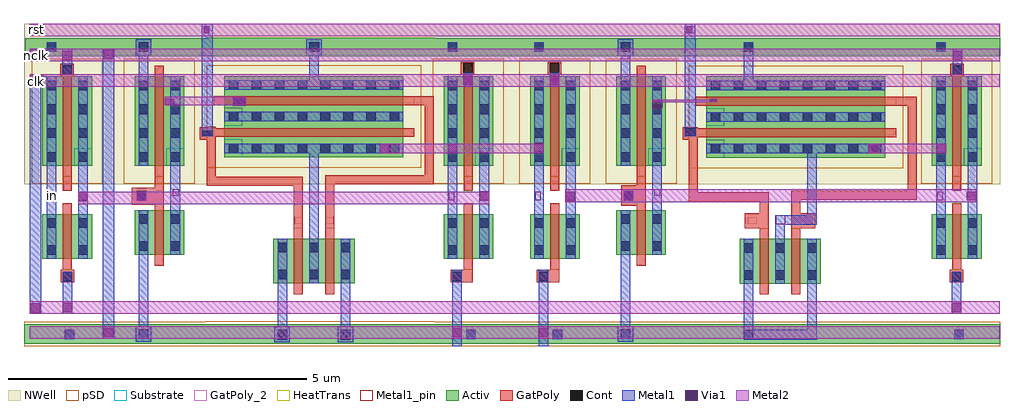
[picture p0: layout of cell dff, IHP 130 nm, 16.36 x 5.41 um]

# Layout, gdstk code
from math import pi, radians
import gdstk
lib = gdstk.Library(unit=1e-6, precision=5e-09)
def R(c, l, rs):  # rectangles x0, y0, x1, y1
    for r in rs: c.add(gdstk.rectangle(r[:2], r[2:], *l))
def A(c, l, x, y, w, h, nx, ny, dx, dy):  # array of equal rectangles
    R(c, l, [(x+i*dx, y+j*dy, x+i*dx+w, y+j*dy+h) for i in range(nx) for j in range(ny)])
Activ = (1, 0)
GatPoly = (5, 0)
GatPoly_2 = (5, 2)
Cont = (6, 0)
Metal1 = (8, 0)
Metal1_pin = (8, 2)
Metal2 = (10, 0)
pSD = (14, 0)
Via1 = (19, 0)
NWell = (31, 0)
Substrate = (40, 0)
HeatTrans = (51, 0)

nmos_5_1 = lib.new_cell('nmos$5$1')
R(nmos_5_1, Activ, [(0,0,0.3,0.3), (0,0,0.83,0.75), (0.53,0,0.83,0.3)])
R(nmos_5_1, GatPoly, [(0.34,-0.18,0.49,0.93)])
R(nmos_5_1, GatPoly_2, [(0.34,-0.18,0.49,0.93)])
R(nmos_5_1, Cont, [(0.07,0.07,0.23,0.23), (0.6,0.07,0.76,0.23), (0.07,0.52,0.23,0.68), (0.6,0.52,0.76,0.68)])
R(nmos_5_1, Metal1, [(0.07,0,0.23,0.75), (0.6,0,0.76,0.75)])
R(nmos_5_1, Metal1_pin, [(0.07,0,0.23,0.75), (0.6,0,0.76,0.75)])
R(nmos_5_1, HeatTrans, [(0.34,-0.18,0.49,0.93)])
nmos_5_1.add(gdstk.Label('nmos', (0.415,0.375), layer=63, texttype=0))
nmos_5_1.add(gdstk.Label('nmos', (0.415,0.375), layer=51, texttype=0))

pmos = lib.new_cell('pmos')
R(pmos, Activ, [(0,0,0.3,0.3), (0,0,0.83,1.5), (0.53,0,0.83,0.3)])
R(pmos, GatPoly, [(0.34,-0.18,0.49,1.68), (0.34,-0.18,0.49,1.68)])
A(pmos, Cont, 0.07, 0.07, 0.16, 0.16, 1, 4, 0, 0.4)
A(pmos, Cont, 0.6, 0.07, 0.16, 0.16, 1, 4, 0, 0.4)
R(pmos, Metal1, [(0.07,0,0.23,1.5), (0.07,0,0.23,1.5), (0.6,0,0.76,1.5), (0.6,0,0.76,1.5)])
R(pmos, pSD, [(-0.18,-0.3,1.01,1.8)])
R(pmos, NWell, [(-0.31,-0.31,1.14,1.81)])
R(pmos, Substrate, [(0.53,0,0.83,0.3)])
R(pmos, HeatTrans, [(0.34,-0.18,0.49,1.68)])
pmos.add(gdstk.Label('pmos', (0.415,0.75), layer=63, texttype=0))
pmos.add(gdstk.Label('pmos', (0.415,0.75), layer=51, texttype=0))

transmissiongate = lib.new_cell('transmissiongate')
R(transmissiongate, Activ, [(2.295,-2.62,3.745,-2.29), (2.315,2.205,3.745,2.505)])
R(transmissiongate, GatPoly, [(2.945,-0.055,3.095,0.185)])
R(transmissiongate, GatPoly_2, [(2.98,-0.43,3.09,-0.27), (2.96,-0.055,3.08,0.105)])
R(transmissiongate, Cont, [(2.98,-2.54,3.14,-2.38), (2.675,2.275,2.835,2.435)])
R(transmissiongate, Metal1, [(2.98,-2.54,3.14,-2.38), (2.98,-2.54,3.14,-2.38), (2.675,-0.445,2.835,-0.21), (3.205,-0.445,3.365,-0.21), (2.675,-0.21,2.835,0.365), (3.205,-0.21,3.365,0.365), (2.675,2.275,2.835,2.435)])
R(transmissiongate, Metal1_pin, [(2.98,-2.54,3.14,-2.38), (2.69,-0.21,2.785,-0.07), (3.205,-0.21,3.365,-0.07), (2.675,2.275,2.835,2.435)])
R(transmissiongate, pSD, [(2.295,-2.66,3.745,-2.245)])
R(transmissiongate, NWell, [(2.295,2.175,3.745,2.745)])
transmissiongate.add(gdstk.Reference(nmos_5_1, (2.605,-1.195)))
transmissiongate.add(gdstk.Reference(pmos, (2.605,0.365)))
transmissiongate.add(gdstk.Label('vdd', (2.745,2.38), layer=8, texttype=2))
transmissiongate.add(gdstk.Label('vss', (3.055,-2.46), layer=8, texttype=2))
transmissiongate.add(gdstk.Label('out', (3.285,-0.14), layer=8, texttype=2))
transmissiongate.add(gdstk.Label('in', (2.73,-0.14), layer=8, texttype=2))
transmissiongate.add(gdstk.Label('en', (3.015,-0.355), layer=5, texttype=2))
transmissiongate.add(gdstk.Label('noten', (3.025,0.02), layer=5, texttype=2))

nmos_1 = lib.new_cell('nmos$1')
R(nmos_1, Activ, [(0,0,0.3,0.3), (0,0,0.83,0.75), (0.53,0,0.83,0.3)])
R(nmos_1, GatPoly, [(0.34,-0.18,0.49,0.93)])
R(nmos_1, GatPoly_2, [(0.34,-0.18,0.49,0.93)])
R(nmos_1, Cont, [(0.07,0.07,0.23,0.23), (0.6,0.07,0.76,0.23), (0.07,0.52,0.23,0.68), (0.6,0.52,0.76,0.68)])
R(nmos_1, Metal1, [(0.07,0,0.23,0.75), (0.6,0,0.76,0.75)])
R(nmos_1, Metal1_pin, [(0.07,0,0.23,0.75), (0.6,0,0.76,0.75)])
R(nmos_1, HeatTrans, [(0.34,-0.18,0.49,0.93)])
nmos_1.add(gdstk.Label('nmos', (0.415,0.375), layer=63, texttype=0))
nmos_1.add(gdstk.Label('nmos', (0.415,0.375), layer=51, texttype=0))

pmos_2 = lib.new_cell('pmos$2')
R(pmos_2, Activ, [(0,0,0.3,0.3), (0,0,0.83,1.5), (0.53,0,0.83,0.3)])
R(pmos_2, GatPoly, [(0.34,-0.18,0.49,1.68), (0.34,-0.18,0.49,1.68)])
A(pmos_2, Cont, 0.07, 0.07, 0.16, 0.16, 1, 4, 0, 0.4)
A(pmos_2, Cont, 0.6, 0.07, 0.16, 0.16, 1, 4, 0, 0.4)
R(pmos_2, Metal1, [(0.07,0,0.23,1.5), (0.07,0,0.23,1.5), (0.6,0,0.76,1.5), (0.6,0,0.76,1.5)])
R(pmos_2, pSD, [(-0.18,-0.3,1.01,1.8)])
R(pmos_2, NWell, [(-0.31,-0.31,1.14,1.81)])
R(pmos_2, Substrate, [(0.53,0,0.83,0.3)])
R(pmos_2, HeatTrans, [(0.34,-0.18,0.49,1.68)])
pmos_2.add(gdstk.Label('pmos', (0.415,0.75), layer=63, texttype=0))
pmos_2.add(gdstk.Label('pmos', (0.415,0.75), layer=51, texttype=0))

inverter_1 = lib.new_cell('inverter$1')
R(inverter_1, Activ, [(-0.925,-2.62,0.525,-2.29), (-0.925,2.205,0.525,2.505)])
R(inverter_1, GatPoly, [(-0.275,-0.195,-0.125,0.185)])
R(inverter_1, GatPoly_2, [(-0.25,-0.14,-0.155,-0.04)])
R(inverter_1, Cont, [(-0.545,-2.535,-0.385,-2.375), (-0.545,-2.535,-0.385,-2.375), (-0.545,2.275,-0.385,2.435)])
R(inverter_1, Metal1, [(-0.595,-2.585,-0.335,-2.325), (-0.545,-2.325,-0.385,-0.845), (-0.015,-0.375,0.145,0.365), (-0.545,1.865,-0.385,2.275), (-0.595,2.225,-0.335,2.485)])
R(inverter_1, Metal1_pin, [(0.02,-0.135,0.12,-0.03)])
R(inverter_1, pSD, [(-0.925,-2.66,0.525,-2.245)])
R(inverter_1, NWell, [(-0.925,2.175,0.525,2.745)])
inverter_1.add(gdstk.Reference(nmos_1, (-0.615,-1.125)))
inverter_1.add(gdstk.Reference(pmos_2, (-0.615,0.365)))
inverter_1.add(gdstk.Label('vss', (-0.475,-2.43), layer=8, texttype=2))
inverter_1.add(gdstk.Label('vdd', (-0.465,2.355), layer=8, texttype=2))
inverter_1.add(gdstk.Label('out', (0.06,-0.09), layer=8, texttype=2))
inverter_1.add(gdstk.Label('in', (-0.205,-0.09), layer=5, texttype=2))

nmos_5 = lib.new_cell('nmos$5')
R(nmos_5, Activ, [(0,0,0.3,0.3), (0,0,0.83,0.75), (0.53,0,0.83,0.3)])
R(nmos_5, GatPoly, [(0.34,-0.18,0.49,0.93)])
R(nmos_5, GatPoly_2, [(0.34,-0.18,0.49,0.93)])
R(nmos_5, Cont, [(0.07,0.07,0.23,0.23), (0.6,0.07,0.76,0.23), (0.07,0.52,0.23,0.68), (0.6,0.52,0.76,0.68)])
R(nmos_5, Metal1, [(0.07,0,0.23,0.75), (0.6,0,0.76,0.75)])
R(nmos_5, Metal1_pin, [(0.07,0,0.23,0.75), (0.6,0,0.76,0.75)])
R(nmos_5, HeatTrans, [(0.34,-0.18,0.49,0.93)])
nmos_5.add(gdstk.Label('nmos', (0.415,0.375), layer=63, texttype=0))
nmos_5.add(gdstk.Label('nmos', (0.415,0.375), layer=51, texttype=0))

pmos_5 = lib.new_cell('pmos$5')
R(pmos_5, Activ, [(0,0,0.3,0.3), (0,0,0.83,3), (0.53,0,0.83,0.3)])
R(pmos_5, GatPoly, [(0.34,-0.18,0.49,3.18), (0.34,-0.18,0.49,3.18)])
A(pmos_5, Cont, 0.07, 0.07, 0.16, 0.16, 1, 7, 0, 0.385)
A(pmos_5, Cont, 0.6, 0.07, 0.16, 0.16, 1, 7, 0, 0.385)
R(pmos_5, Cont, [(0.07,2.77,0.23,2.93), (0.6,2.77,0.76,2.93)])
R(pmos_5, Metal1, [(0.07,0,0.23,3), (0.07,0,0.23,3), (0.6,0,0.76,3), (0.6,0,0.76,3)])
R(pmos_5, pSD, [(-0.18,-0.3,1.01,3.3)])
R(pmos_5, NWell, [(-0.31,-0.31,1.14,3.31)])
R(pmos_5, Substrate, [(0.53,0,0.83,0.3)])
R(pmos_5, HeatTrans, [(0.34,-0.18,0.49,3.18)])
pmos_5.add(gdstk.Label('pmos', (0.415,1.5), layer=63, texttype=0))
pmos_5.add(gdstk.Label('pmos', (0.415,1.5), layer=51, texttype=0))

norgate = lib.new_cell('norgate')
R(norgate, Activ, [(-1.47,-2.5,1.81,-2.17), (-1.35,2.325,1.935,2.625)])
R(norgate, GatPoly, [(-0.525,-0.56,-0.125,-0.31), (-0.275,-0.56,-0.125,-0.11), (0.255,-0.56,0.405,0.065), (0.255,-0.56,0.655,-0.31), (-1.47,-0.11,-0.125,0.04), (0.255,-0.085,2.355,0.065), (2.205,-0.085,2.355,1.645), (-1.47,0.04,-1.32,1.135), (-1.47,0.965,-1.35,1.135), (2.01,1.495,2.355,1.645)])
R(norgate, GatPoly_2, [(0.47,-0.49,0.6,-0.37), (-0.48,-0.485,-0.325,-0.375)])
R(norgate, Cont, [(-0.545,-2.43,-0.385,-2.27), (-0.545,2.395,-0.385,2.555)])
R(norgate, Metal1, [(-0.545,-2.43,-0.385,-0.74), (-0.545,-2.43,0.675,-2.265), (0.515,-2.43,0.675,-0.74), (-0.015,-0.74,0.145,-0.36), (-0.015,-0.505,0.675,-0.345), (0.515,-0.49,0.675,0.695), (-0.545,1.755,-0.385,2.555)])
R(norgate, Metal1_pin, [(-0.545,-2.43,-0.385,-2.265), (-0.01,-0.49,0.15,-0.345), (-0.545,2.395,-0.385,2.555)])
R(norgate, pSD, [(-1.47,-2.54,1.81,-2.125)])
R(norgate, NWell, [(-1.47,2.295,2.13,2.865)])
norgate.add(gdstk.Reference(nmos_5, (0.745,-0.74), rotation=pi))
norgate.add(gdstk.Reference(nmos_5, (-0.615,-1.49)))
norgate.add(gdstk.Reference(pmos_5, (-1.17,1.985), rotation=3*pi/2))
norgate.add(gdstk.Reference(pmos_5, (-1.17,1.455), rotation=3*pi/2))
norgate.add(gdstk.Label('vss', (-0.485,-2.335), layer=8, texttype=2))
norgate.add(gdstk.Label('vdd', (-0.475,2.5), layer=8, texttype=2))
norgate.add(gdstk.Label('out', (0.07,-0.41), layer=8, texttype=2))
norgate.add(gdstk.Label('b', (-0.42,-0.435), layer=5, texttype=2))
norgate.add(gdstk.Label('a', (0.52,-0.44), layer=5, texttype=2))

nmos_5_2 = lib.new_cell('nmos$5$2')
R(nmos_5_2, Activ, [(0,0,0.3,0.3), (0,0,0.83,0.75), (0.53,0,0.83,0.3)])
R(nmos_5_2, GatPoly, [(0.34,-0.18,0.49,0.93)])
R(nmos_5_2, GatPoly_2, [(0.34,-0.18,0.49,0.93)])
R(nmos_5_2, Cont, [(0.07,0.07,0.23,0.23), (0.6,0.07,0.76,0.23), (0.07,0.52,0.23,0.68), (0.6,0.52,0.76,0.68)])
R(nmos_5_2, Metal1, [(0.07,0,0.23,0.75), (0.6,0,0.76,0.75)])
R(nmos_5_2, Metal1_pin, [(0.07,0,0.23,0.75), (0.6,0,0.76,0.75)])
R(nmos_5_2, HeatTrans, [(0.34,-0.18,0.49,0.93)])
nmos_5_2.add(gdstk.Label('nmos', (0.415,0.375), layer=63, texttype=0))
nmos_5_2.add(gdstk.Label('nmos', (0.415,0.375), layer=51, texttype=0))

pmos_5_1 = lib.new_cell('pmos$5$1')
R(pmos_5_1, Activ, [(0,0,0.3,0.3), (0,0,0.83,3), (0.53,0,0.83,0.3)])
R(pmos_5_1, GatPoly, [(0.34,-0.18,0.49,3.18), (0.34,-0.18,0.49,3.18)])
A(pmos_5_1, Cont, 0.07, 0.07, 0.16, 0.16, 1, 7, 0, 0.385)
A(pmos_5_1, Cont, 0.6, 0.07, 0.16, 0.16, 1, 7, 0, 0.385)
R(pmos_5_1, Cont, [(0.07,2.77,0.23,2.93), (0.6,2.77,0.76,2.93)])
R(pmos_5_1, Metal1, [(0.07,0,0.23,3), (0.07,0,0.23,3), (0.6,0,0.76,3), (0.6,0,0.76,3)])
R(pmos_5_1, pSD, [(-0.18,-0.3,1.01,3.3)])
R(pmos_5_1, NWell, [(-0.31,-0.31,1.14,3.31)])
R(pmos_5_1, Substrate, [(0.53,0,0.83,0.3)])
R(pmos_5_1, HeatTrans, [(0.34,-0.18,0.49,3.18)])
pmos_5_1.add(gdstk.Label('pmos', (0.415,1.5), layer=63, texttype=0))
pmos_5_1.add(gdstk.Label('pmos', (0.415,1.5), layer=51, texttype=0))

norgate_1 = lib.new_cell('norgate$1')
R(norgate_1, Activ, [(-1.48,-2.5,2.355,-2.17), (-1.47,2.325,2.355,2.625)])
R(norgate_1, GatPoly, [(-0.01,-0.56,0.14,0.15), (0.52,-0.56,0.67,0.17), (-1.47,0.15,0.14,0.3), (0.52,0.17,2.19,0.32), (2.19,0.17,2.34,1.645), (-1.47,0.3,-1.32,1.135), (-1.47,0.965,-1.35,1.135), (2.01,1.495,2.19,1.645)])
R(norgate_1, GatPoly_2, [(0.005,-0.49,0.13,-0.38), (0.535,-0.49,0.66,-0.38)])
R(norgate_1, Cont, [(-0.28,-2.43,-0.12,-2.27), (-0.28,-2.43,-0.12,-2.27), (0.78,-2.43,0.94,-2.27), (0.78,-2.43,0.94,-2.27), (0.255,2.395,0.415,2.555)])
R(norgate_1, Metal1, [(-0.335,-2.48,-0.075,-2.22), (0.725,-2.48,0.985,-2.22), (-0.28,-2.43,-0.12,-0.74), (0.78,-2.43,0.94,-0.74), (0.25,-0.74,0.41,0.695), (0.25,1.915,0.41,2.345), (0.2,2.345,0.46,2.605)])
R(norgate_1, Metal1_pin, [(-0.25,-2.39,-0.17,-2.3), (0.81,-2.39,0.89,-2.3), (0.255,2.395,0.415,2.555)])
R(norgate_1, pSD, [(-1.48,-2.54,2.355,-2.125)])
R(norgate_1, NWell, [(-1.47,0.315,2.355,2.865), (-1.47,2.295,2.355,2.865)])
norgate_1.add(gdstk.Reference(nmos_5_2, (1.01,-0.74), rotation=pi))
norgate_1.add(gdstk.Reference(nmos_5_2, (-0.35,-1.49)))
norgate_1.add(gdstk.Reference(pmos_5_1, (-1.17,1.985), rotation=3*pi/2))
norgate_1.add(gdstk.Reference(pmos_5_1, (-1.17,1.455), rotation=3*pi/2))
norgate_1.add(gdstk.Label('vdd', (0.325,2.5), layer=8, texttype=2))
norgate_1.add(gdstk.Label('vss', (-0.22,-2.335), layer=8, texttype=2))
norgate_1.add(gdstk.Label('vss', (0.84,-2.335), layer=8, texttype=2))
norgate_1.add(gdstk.Label('b', (0.07,-0.44), layer=5, texttype=2))
norgate_1.add(gdstk.Label('a', (0.6,-0.44), layer=5, texttype=2))

dff = lib.new_cell('dff')
R(dff, Activ, [(-1.81,-2.62,14.55,-2.29), (-1.79,2.205,14.55,2.505)])
R(dff, GatPoly, [(-1.19,-1.585,-0.965,-1.375), (5.34,-1.585,5.565,-1.375), (5.565,-1.585,5.715,-1.375), (6.785,-1.585,7.01,-1.375), (7.01,-1.585,7.16,-1.375), (13.71,-1.585,13.935,-1.375), (8.2,-0.3,8.46,0.04), (0,-0.285,0.385,0), (1.14,0.8,1.345,1.015), (9.235,0.8,9.44,1.015), (-1.2,1.865,-0.975,2.075), (13.72,1.865,13.945,2.075), (5.515,1.895,5.74,2.105), (6.97,1.895,7.195,2.105)])
R(dff, Cont, [(-1.16,-1.565,-1,-1.405), (5.37,-1.565,5.53,-1.405), (6.815,-1.565,6.975,-1.405), (13.74,-1.565,13.9,-1.405), (0.08,-0.215,0.24,-0.055), (8.245,-0.215,8.405,-0.055), (1.17,0.86,1.355,0.955), (9.265,0.86,9.45,0.995), (1.69,1.395,1.91,1.48), (9.685,1.43,9.8,1.49), (-1.165,1.895,-1.005,2.055), (13.755,1.895,13.915,2.055), (5.55,1.925,5.71,2.085), (7.005,1.925,7.165,2.085), (10.255,2.275,10.415,2.435)])
R(dff, Metal1, [(5.37,-2.66,5.53,-1.375), (6.815,-2.66,6.975,-1.375), (-0.49,-2.535,-0.3,2.33), (-1.71,-2.115,-1.52,1.905), (-1.16,-2.115,-1,-1.405), (13.74,-2.115,13.9,-1.405), (0.08,-0.215,0.24,-0.055), (8.245,-0.215,8.405,-0.055), (1.17,0.86,1.355,2.505), (9.265,0.86,9.45,2.505), (1.69,1.375,1.91,1.525), (9.685,1.43,9.8,1.49), (5.55,1.695,5.71,1.925), (7.005,1.695,7.165,1.925), (-1.165,1.895,-1.005,2.33), (13.755,1.895,13.915,2.33), (1.17,2.505,1.35,2.745), (9.265,2.505,9.445,2.745), (-1.71,2.54,-1.48,2.75), (-1.71,2.54,-1.475,2.75)])
R(dff, Metal1_pin, [(-1.43,-0.21,-1.27,-0.065), (-1.71,1.695,-1.48,1.905), (-1.71,2.12,-1.48,2.33), (-1.71,2.54,-1.48,2.75)])
R(dff, Metal2, [(-1.71,-2.535,14.545,-2.325), (-1.71,-2.115,14.545,-1.905), (-0.9,-0.28,5.99,-0.07), (7.265,-0.24,14.15,-0.03), (4.15,0.575,5.455,0.74), (5.455,0.575,6.905,0.74), (12.345,0.575,13.65,0.74), (0.55,1.38,1.91,1.525), (8.725,1.43,9.8,1.47), (-1.71,1.695,14.545,1.905), (-1.71,2.12,14.545,2.33), (-1.71,2.54,14.545,2.75)])
R(dff, pSD, [(-1.81,-2.66,14.55,-2.245)])
R(dff, Via1, [(-0.475,-2.51,-0.315,-2.35), (5.365,-2.505,5.525,-2.345), (6.81,-2.505,6.97,-2.345), (-1.695,-2.095,-1.535,-1.935), (-1.16,-2.09,-1,-1.93), (13.74,-2.09,13.9,-1.93), (-0.9,-0.23,-0.74,-0.07), (7.265,-0.23,7.425,-0.07), (5.83,-0.22,5.99,-0.06), (0.08,-0.215,0.24,-0.055), (8.245,-0.215,8.405,-0.055), (13.99,-0.21,14.15,-0.07), (4.155,0.575,4.315,0.735), (5.295,0.575,5.455,0.735), (5.295,0.575,5.455,0.735), (12.35,0.575,12.51,0.735), (13.49,0.575,13.65,0.735), (6.74,0.595,6.9,0.755), (8.725,1.335,8.885,1.47), (1.69,1.375,1.91,1.525), (0.55,1.38,0.71,1.49), (9.685,1.43,9.8,1.49), (-1.71,1.695,-1.475,1.905), (5.55,1.72,5.71,1.88), (7.005,1.72,7.165,1.88), (-1.71,2.12,-1.475,2.33), (-1.165,2.135,-1.005,2.295), (13.755,2.135,13.915,2.295), (-0.475,2.15,-0.315,2.31), (-1.71,2.54,-1.475,2.75), (1.2,2.585,1.295,2.705), (9.295,2.585,9.39,2.705)])
R(dff, NWell, [(-1.81,0.055,14.545,2.75), (-1.81,2.205,14.55,2.745)])
dff.add(gdstk.Reference(transmissiongate, (10.805,0)))
dff.add(gdstk.Reference(transmissiongate, (2.62,0)))
dff.add(gdstk.Reference(transmissiongate, (4.07,0)))
dff.add(gdstk.Reference(inverter_1, (8.735,0)))
dff.add(gdstk.Reference(transmissiongate, (-4.105,0)))
dff.add(gdstk.Reference(norgate, (10.8,-0.12)))
dff.add(gdstk.Reference(inverter_1, (0.66,0)))
dff.add(gdstk.Reference(norgate_1, (2.72,-0.115)))
dff.add(gdstk.Label('rst', (-1.595,2.645), layer=8, texttype=2))
dff.add(gdstk.Label('clk', (-1.595,1.78), layer=8, texttype=2))
dff.add(gdstk.Label('in', (-1.335,-0.135), layer=8, texttype=2))
dff.add(gdstk.Label('nclk', (-1.595,2.21), layer=8, texttype=2))

lib.write_gds('dff.gds')
